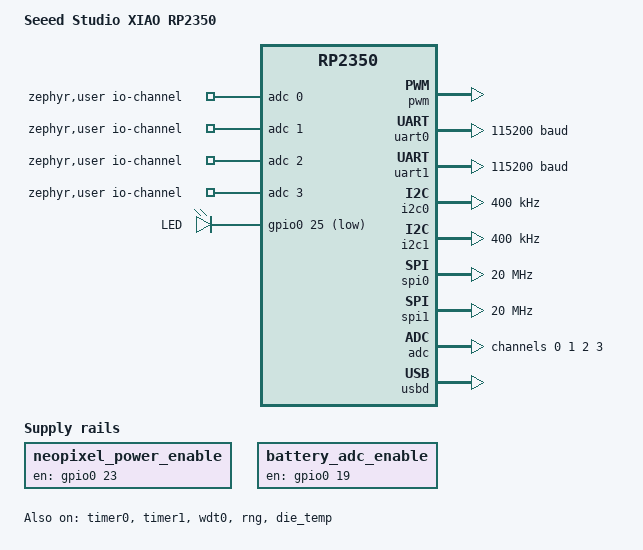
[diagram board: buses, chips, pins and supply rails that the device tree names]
/*
 * SPDX-FileCopyrightText: Copyright (c) 2026 Navimatix GmbH
 * SPDX-FileCopyrightText: Copyright (c) 2026 TiaC Systems
 * SPDX-License-Identifier: Apache-2.0
 */

#include <mem.h>
#include <freq.h>

#include <zephyr/dt-bindings/adc/adc.h>
#include <zephyr/dt-bindings/gpio/gpio.h>
#include <zephyr/dt-bindings/i2c/i2c.h>
#include <zephyr/dt-bindings/led/led.h>
#include <zephyr/dt-bindings/pwm/pwm.h>

#include <raspberrypi/partitions_4M_default.dtsi>

#include "xiao_rp2350-pinctrl.dtsi"
#include "seeed_xiao_connector.dtsi"
#include "seeed_xiao_pads.dtsi"

/ {
	model = "Seeed Studio XIAO RP2350";
	compatible = "seeed,xiao-rp2350";

	chosen {
		zephyr,sram = &sram0;
		zephyr,flash = &flash0;
		zephyr,flash-controller = &qmi;
		zephyr,code-partition = &code_partition;
		zephyr,console = &uart0;
		zephyr,shell-uart = &uart0;
		zephyr,entropy = &rng;
	};

	aliases {
		led0 = &led0;
		pwm-led0 = &pwm_led0;
		led-strip = &ws2812;
		watchdog0 = &wdt0;
	};

	zephyr,user {
		io-channels = <&adc 0>,	/* XIAO (1:1) */
			      <&adc 1>,	/* XIAO (1:1) */
			      <&adc 2>,	/* XIAO (1:1) */
			      <&adc 3>;	/* VBAT (1:2) */
	};

	leds {
		compatible = "gpio-leds";

		led0: led_0 {
			gpios = <&gpio0 25 GPIO_ACTIVE_LOW>;
			label = "LED";
		};
	};

	pwm_leds {
		compatible = "pwm-leds";
		status = "disabled";

		pwm_led0: pwm_led_0 {
			pwms = <&pwm 9 PWM_MSEC(20) PWM_POLARITY_INVERTED>;
			label = "PWM_LED";
		};
	};

	/*
	 * The neopixel on this board has its own power switch with enable
	 * signal hooked up to a GPIO pin rather than a permanent positive
	 * voltage rail to save on power. This will enable the digital RGB
	 * LED on board initialization. Application code can switch it off
	 * later on demand.
	 */
	neopixel_power_enable: neopixel-power-enable {
		compatible = "regulator-fixed";
		status = "okay";

		enable-gpios = <&gpio0 23 GPIO_ACTIVE_HIGH>;
		regulator-name = "neopixel_enable";
		regulator-boot-on;
	};

	/*
	 * The battery voltage rail on this board is gated by a power switch
	 * with enable signal hooked up to a GPIO pin rather than a permanent
	 * positive voltage rail to decouple the ADC input from VBAT or save
	 * on power. This will enable the ADC input channel gate on board
	 * initialization. Application code can switch it off later on demand.
	 */
	battery_adc_enable: battery-adc-enable {
		compatible = "regulator-fixed";
		status = "okay";

		enable-gpios = <&gpio0 19 GPIO_ACTIVE_HIGH>;
		regulator-name = "battery_adc_enable";
		regulator-boot-on;
	};
};

/* overwrite for 2M; there is no default 2M partition DTS include for RP2350 */
&flash0 {
	status = "okay";
	reg = <0x10000000 DT_SIZE_M(2)>;
};

&storage_partition {
	reg = <0x100000 DT_SIZE_M(1)>;
};

&timer0 {
	status = "okay";
};

&timer1 {
	status = "okay";
};

&wdt0 {
	status = "okay";
};

&rng {
	status = "okay";
};

&pwm {
	status = "okay";
	pinctrl-0 = <&pwm_ch4b_default>;
	pinctrl-names = "default";
};

gpio0_lo: &gpio0 {
	status = "okay";
};

&pio0 {
	status = "okay";

	pio-ws2812 {
		compatible = "worldsemi,ws2812-rpi_pico-pio";
		status = "okay";

		pinctrl-0 = <&ws2812_pio0_default>;
		pinctrl-names = "default";

		/* HI: 0x3F0: 1111110000: 0.750 us high and 0.500 us low */
		/* LO: 0x380: 1110000000: 0.375 us high and 0.875 us low */
		bit-waveform = <3>, <3>, <4>;

		ws2812: ws2812 {
			status = "okay";

			chain-length = <1>;
			color-mapping = <LED_COLOR_ID_GREEN
					 LED_COLOR_ID_RED
					 LED_COLOR_ID_BLUE>;

			/* PIO0:OUT @ GP8 and Tbit = 1.25 us / 10 */
			gpios = <&gpio0 22 GPIO_ACTIVE_HIGH>;
			frequency = <DT_FREQ_K(800)>;
			reset-delay = <280>;
		};
	};
};

&uart0 {
	status = "okay";
	pinctrl-0 = <&uart0_default>;
	pinctrl-names = "default";
	current-speed = <115200>;
};

&uart1 {
	status = "okay";
	pinctrl-0 = <&uart1_default>;
	pinctrl-names = "default";
	current-speed = <115200>;
};

&i2c0 {
	status = "okay";
	pinctrl-0 = <&i2c0_default>;
	pinctrl-names = "default";
	clock-frequency = <I2C_BITRATE_FAST>;
};

&i2c1 {
	status = "okay";
	pinctrl-0 = <&i2c1_default>;
	pinctrl-names = "default";
	clock-frequency = <I2C_BITRATE_FAST>;
};

&spi0 {
	status = "okay";
	pinctrl-0 = <&spi0_default>;
	pinctrl-names = "default";
	clock-frequency = <DT_FREQ_M(20)>;
};

&spi1 {
	status = "okay";
	pinctrl-0 = <&spi1_default>;
	pinctrl-names = "default";
	clock-frequency = <DT_FREQ_M(20)>;
};

&adc {
	status = "okay";
	pinctrl-0 = <&adc_default>;
	pinctrl-names = "default";
	#address-cells = <1>;
	#size-cells = <0>;

	channel@0 {
		reg = <0>;
		zephyr,gain = "ADC_GAIN_1";
		zephyr,reference = "ADC_REF_INTERNAL";
		zephyr,acquisition-time = <ADC_ACQ_TIME_DEFAULT>;
		zephyr,resolution = <12>;
	};

	channel@1 {
		reg = <1>;
		zephyr,gain = "ADC_GAIN_1";
		zephyr,reference = "ADC_REF_INTERNAL";
		zephyr,acquisition-time = <ADC_ACQ_TIME_DEFAULT>;
		zephyr,resolution = <12>;
	};

	channel@2 {
		reg = <2>;
		zephyr,gain = "ADC_GAIN_1";
		zephyr,reference = "ADC_REF_INTERNAL";
		zephyr,acquisition-time = <ADC_ACQ_TIME_DEFAULT>;
		zephyr,resolution = <12>;
	};

	channel@3 {
		reg = <3>;
		zephyr,gain = "ADC_GAIN_1";
		zephyr,reference = "ADC_REF_INTERNAL";
		zephyr,acquisition-time = <ADC_ACQ_TIME_DEFAULT>;
		zephyr,resolution = <12>;
	};
};

&die_temp {
	status = "okay";
};

zephyr_udc0: &usbd {
	status = "okay";
};
